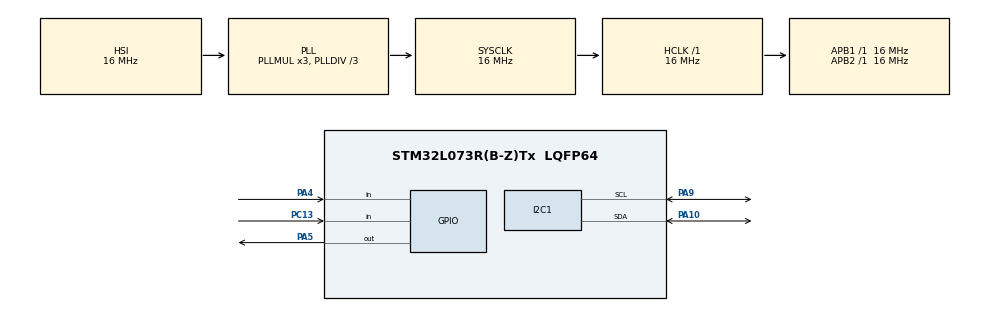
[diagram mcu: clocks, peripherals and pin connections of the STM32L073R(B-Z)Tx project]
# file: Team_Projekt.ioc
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I2C1.Timing=0x00303D5B
Mcu.Family=STM32L0
Mcu.Name=STM32L073R(B-Z)Tx
Mcu.Package=LQFP64
NVIC.RTC_IRQn=true\:0\:0\:false\:false\:true\:true\:true\:true
PA10.Mode=I2C
PA10.Signal=I2C1_SDA
PA13.Mode=Serial_Wire
PA13.Signal=SYS_SWDIO
PA14.Mode=Serial_Wire
PA14.Signal=SYS_SWCLK
PA4.GPIO_PuPd=GPIO_PULLUP
PA4.Signal=GPIO_Input
PA5.Signal=GPIO_Output
PA9.Mode=I2C
PA9.Signal=I2C1_SCL
PC13.Signal=GPIO_Input
PH0-OSC_IN.Mode=HSE-External-Oscillator
PH0-OSC_IN.Signal=RCC_OSC_IN
PH1-OSC_OUT.Mode=HSE-External-Oscillator
PH1-OSC_OUT.Signal=RCC_OSC_OUT
ProjectManager.HeapSize=0x200
ProjectManager.StackSize=0x400
ProjectManager.TargetToolchain=STM32CubeIDE
RCC.AHBFreq_Value=16000000
RCC.APB1Freq_Value=16000000
RCC.APB1TimFreq_Value=16000000
RCC.APB2Freq_Value=16000000
RCC.APB2TimFreq_Value=16000000
RCC.HCLKFreq_Value=16000000
RCC.HSE_VALUE=8000000
RCC.HSI16_VALUE=16000000
RCC.HSI48_VALUE=48000000
RCC.HSI_VALUE=16000000
RCC.LSE_VALUE=32768
RCC.MSI_VALUE=2097000
RCC.PLLDIV=RCC_PLLDIV_3
RCC.SYSCLKFreq_VALUE=16000000
RCC.SYSCLKSource=RCC_SYSCLKSOURCE_PLLCLK
RCC.VCOOutputFreq_Value=48000000
VP_RTC_VS_RTC_Activate.Mode=RTC_Enabled
VP_RTC_VS_RTC_WakeUp_intern.Mode=WakeUp
board=NUCLEO-L073RZ

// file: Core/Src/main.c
/* USER CODE BEGIN Header */
/**
  ******************************************************************************
  * @file           : main.c
  * @brief          : Main program body
  ******************************************************************************
  * @attention
  *
  * Copyright (c) 2023 STMicroelectronics.
  * All rights reserved.
  *
  * This software is licensed under terms that can be found in the LICENSE file
  * in the root directory of this software component.
  * If no LICENSE file comes with this software, it is provided AS-IS.
  *
  ******************************************************************************
  */
/* USER CODE END Header */
#include "main.h"

/* USER CODE BEGIN PD */
#define PCF8523_Address 0x68//0xD0 // I2C Adresse oder 0x68 ?
#define Control_1 0x00
#define Control_2 0x01
#define Control_3 0x02
#define Tmr_CLKOUT_ctrl 0x0F

#define Tmr_A_freq_ctrl 0x10
#define Tmr_A_reg 0x11

#define PCF8523_TIMER_B_FRCTL 0x12
#define PCF8523_TIMER_B_VALUE 0x13
#define PCF8523_OFFSET 0x0E
#define PCF8523_STATUSREG 0x03

#define RV3028C7_Address 0x52
#define RV_Timer_Val_0 0x0A
#define RV_Timer_Val_1 0x0B
#define RV_Status 0x0E
#define RV_Control_1 0x0F
#define RV_Control_2 0x10
#define RV_EEPROM_Backup 0x37
/* USER CODE END PD */

I2C_HandleTypeDef hi2c1;

RTC_HandleTypeDef hrtc;

/* USER CODE BEGIN PV */
uint8_t buffer[6];
uint8_t zwei = 0x02;
uint8_t dreißig = 0x05;
/* USER CODE END PV */

void SystemClock_Config(void);
static void MX_GPIO_Init(void);
static void MX_RTC_Init(void);
static void MX_I2C1_Init(void);

/* USER CODE BEGIN 0 */

void RV3028C7_Backup()
{
	uint8_t BSM;
	HAL_I2C_Mem_Read(&hi2c1, RV3028C7_Address << 1, RV_EEPROM_Backup, 1, &BSM, 1, 1000); // lesen von register
	BSM |= (1 << 2); // setzen von interrupt enable bit
	HAL_I2C_Mem_Write(&hi2c1, RV3028C7_Address << 1, RV_EEPROM_Backup, 1,  &BSM, 1, 1000);
}

void RV3028C7_Reset()
{
	uint8_t TE;
	HAL_I2C_Mem_Read(&hi2c1, RV3028C7_Address << 1, RV_Control_1, 1, &TE, 1, 1000); // lesen von register
	TE &= ~(1 << 2); // setzen von interrupt enable bit
	HAL_I2C_Mem_Write(&hi2c1, RV3028C7_Address << 1, RV_Control_1, 1,  &TE, 1, 1000);

	uint8_t TIE;
	HAL_I2C_Mem_Read(&hi2c1, RV3028C7_Address << 1, RV_Control_2, 1, &TIE, 1, 1000); // lesen von register
	TIE &= ~(1 << 4); // setzen von interrupt enable bit
	HAL_I2C_Mem_Write(&hi2c1, RV3028C7_Address << 1, RV_Control_2, 1,  &TIE, 1, 1000);

	uint8_t TF;
	HAL_I2C_Mem_Read(&hi2c1, RV3028C7_Address << 1, RV_Status, 1, &TF, 1, 1000); // lesen von register
	TF &= ~(1 << 3); // setzen von interrupt enable bit
	HAL_I2C_Mem_Write(&hi2c1, RV3028C7_Address << 1, RV_Status, 1,  &TF, 1, 1000);
}

void RV3028C7_Init(uint8_t timer_val)
{
	uint8_t TRPT;
	HAL_I2C_Mem_Read(&hi2c1, RV3028C7_Address << 1, RV_Control_1, 1, &TRPT, 1, 1000); // lesen von register
	TRPT |= (1 << 7); // setzen von interrupt enable bit
	HAL_I2C_Mem_Write(&hi2c1, RV3028C7_Address << 1, RV_Control_1, 1,  &TRPT, 1, 1000);

	uint8_t TD;
	HAL_I2C_Mem_Read(&hi2c1, RV3028C7_Address << 1, RV_Control_1, 1, &TD, 1, 1000); // lesen von register
	TD |= 0x02; // setzen von interrupt enable bit
	HAL_I2C_Mem_Write(&hi2c1, RV3028C7_Address << 1, RV_Control_1, 1,  &TD, 1, 1000);

	HAL_I2C_Mem_Write(&hi2c1, RV3028C7_Address << 1, RV_Timer_Val_0, 1,  &timer_val, 1, 1000);

	uint8_t TIE;
	HAL_I2C_Mem_Read(&hi2c1, RV3028C7_Address << 1, RV_Control_2, 1, &TIE, 1, 1000); // lesen von register
	TIE |= (1 << 4); // setzen von interrupt enable bit
	HAL_I2C_Mem_Write(&hi2c1, RV3028C7_Address << 1, RV_Control_2, 1,  &TIE, 1, 1000);

	uint8_t TE;
	HAL_I2C_Mem_Read(&hi2c1, RV3028C7_Address << 1, RV_Control_1, 1, &TE, 1, 1000); // lesen von register
	TE |= (1 << 2); // setzen von interrupt enable bit
	HAL_I2C_Mem_Write(&hi2c1, RV3028C7_Address << 1, RV_Control_1, 1,  &TE, 1, 1000);
}

void Enable_interrupt()
{
	uint8_t EnIn;

	HAL_I2C_Mem_Read(&hi2c1, PCF8523_Address << 1, Control_2, 1, &EnIn, 1, 1000); // lesen von register

	EnIn |= 0x02; // setzen von interrupt enable bit

	HAL_I2C_Mem_Write(&hi2c1, PCF8523_Address << 1, Control_2, 1,  &EnIn, 1, 1000); // schreiben des registers mit gesetztem bit
}

void TimerA_Init(uint8_t val)
{
	uint8_t reset = 0x00;
	HAL_I2C_Mem_Write(&hi2c1, PCF8523_Address << 1, Tmr_CLKOUT_ctrl, 1,  &reset, 1, 1000); //reset

	uint8_t control;
	HAL_I2C_Mem_Read(&hi2c1, PCF8523_Address << 1, Tmr_CLKOUT_ctrl, 1, &control, 1, 1000); // lesen von clock out register
	control |= 0xBA; // clkout deaktiviert, pulsed interrupt für timerA, timerA als countdown timer
	HAL_I2C_Mem_Write(&hi2c1, PCF8523_Address << 1, Tmr_CLKOUT_ctrl, 1,  &control, 1, 1000);

	uint8_t freq = 0x02; // Frequenz 1 Hz
	HAL_I2C_Mem_Write(&hi2c1, PCF8523_Address << 1, Tmr_A_freq_ctrl, 1, &freq, 1, 1000); // schreiben von frequenz register

	uint8_t value = val; // Wert fürs herunterzählen setzen
	HAL_I2C_Mem_Write(&hi2c1, PCF8523_Address << 1, Tmr_A_reg, 1, &value, 1, 1000);

}

void Bat_Mode()
{
	uint8_t battery;

	HAL_I2C_Mem_Read(&hi2c1, PCF8523_Address << 1, Control_3, 1,  &battery, 1, 1000); //control 3 register lesen

	uint8_t mask = ~(0xE0);
	battery &= mask;

	HAL_I2C_Mem_Write(&hi2c1, PCF8523_Address << 1, Control_3, 1, &battery, 1, 1000); // batterie mode aktiviert
}

void Go_To_Standby()
{
	  if(__HAL_PWR_GET_FLAG(PWR_FLAG_SB) != RESET)
	  {
		  __HAL_PWR_CLEAR_FLAG(PWR_FLAG_SB);

		  for (int i = 0; i < 20; i++)
		  {
			  HAL_GPIO_TogglePin(GPIOA, GPIO_PIN_5);
			  HAL_Delay(200);
		  }

		  HAL_RTCEx_DeactivateWakeUpTimer(&hrtc);

	  }

	  __HAL_PWR_CLEAR_FLAG(PWR_FLAG_WU);

	  __HAL_RTC_WAKEUPTIMER_CLEAR_FLAG(&hrtc, RTC_FLAG_WUTF);

	  for (int i = 0; i < 5; i++)
	  {
		  HAL_GPIO_TogglePin(GPIOA, GPIO_PIN_5);
		  HAL_Delay(750);
	  }

	  HAL_GPIO_WritePin(GPIOA, GPIO_PIN_5, GPIO_PIN_SET);
	 		  HAL_Delay(2000);

	  /*            5 sekunden wakeup enable                 */
	  if (HAL_RTCEx_SetWakeUpTimer_IT(&hrtc, 0x4000, RTC_WAKEUPCLOCK_RTCCLK_DIV16) != HAL_OK)
	  {
	    Error_Handler();
	  }

	  HAL_PWR_EnterSTANDBYMode();
}

void Clock_Devider()
{

	//RCC_ClkInitTypeDef clk_init;
	//RCC_OscInitTypeDef osc_init;
	RCC_ClkInitTypeDef RCC_ClkInitStruct = {0};
	RCC_OscInitTypeDef RCC_OscInitStruct = {0};

	  /***************************************32 MHz*****************************************************************/
	  RCC_OscInitStruct.PLL.PLLMUL = RCC_PLLMUL_4;
	  RCC_OscInitStruct.PLL.PLLDIV = RCC_PLLDIV_2;
	  RCC_ClkInitStruct.AHBCLKDivider = RCC_SYSCLK_DIV1;
	  HAL_Delay(1000);

	  /****************************************24 MHz****************************************************************/
	  RCC_OscInitStruct.PLL.PLLMUL = RCC_PLLMUL_3;
	  RCC_OscInitStruct.PLL.PLLDIV = RCC_PLLDIV_2;
	  RCC_ClkInitStruct.AHBCLKDivider = RCC_SYSCLK_DIV1;
	  HAL_Delay(1000);

	  /****************************************16 MHz*****************************************************************/
	  RCC_OscInitStruct.PLL.PLLMUL = RCC_PLLMUL_3;
	  RCC_OscInitStruct.PLL.PLLDIV = RCC_PLLDIV_3;
	  RCC_ClkInitStruct.AHBCLKDivider = RCC_SYSCLK_DIV1;
	  HAL_Delay(1000);

	  /*****************************************8 MHz***************************************************************/
	  RCC_OscInitStruct.PLL.PLLMUL = RCC_PLLMUL_3;
	  RCC_OscInitStruct.PLL.PLLDIV = RCC_PLLDIV_3;
	  RCC_ClkInitStruct.AHBCLKDivider = RCC_SYSCLK_DIV2;
	  HAL_Delay(1000);

	  /****************************************4 MHz*****************************************************************/
	  RCC_OscInitStruct.PLL.PLLMUL = RCC_PLLMUL_3;
	  RCC_OscInitStruct.PLL.PLLDIV = RCC_PLLDIV_3;
	  RCC_ClkInitStruct.AHBCLKDivider = RCC_SYSCLK_DIV4;
	  HAL_Delay(1000);

	  /***************************************2 MHz******************************************************************/
	  RCC_OscInitStruct.PLL.PLLMUL = RCC_PLLMUL_3;
	  RCC_OscInitStruct.PLL.PLLDIV = RCC_PLLDIV_3;
	  RCC_ClkInitStruct.AHBCLKDivider = RCC_SYSCLK_DIV8;
	  HAL_Delay(1000);

	  /**************************************1 MHz*******************************************************************/
	  RCC_OscInitStruct.PLL.PLLMUL = RCC_PLLMUL_3;
	  RCC_OscInitStruct.PLL.PLLDIV = RCC_PLLDIV_3;
	  RCC_ClkInitStruct.AHBCLKDivider = RCC_SYSCLK_DIV16;
	  HAL_Delay(1000);

	  /**************************************250 KHz*******************************************************************/
	  RCC_OscInitStruct.PLL.PLLMUL = RCC_PLLMUL_3;
	  RCC_OscInitStruct.PLL.PLLDIV = RCC_PLLDIV_3;
	  RCC_ClkInitStruct.AHBCLKDivider = RCC_SYSCLK_DIV64;
	  HAL_Delay(1000);

	  /**************************************125 KHz*******************************************************************/
	  RCC_OscInitStruct.PLL.PLLMUL = RCC_PLLMUL_3;
	  RCC_OscInitStruct.PLL.PLLDIV = RCC_PLLDIV_3;
	  RCC_ClkInitStruct.AHBCLKDivider = RCC_SYSCLK_DIV128;
	  HAL_Delay(1000);

	  /**************************************62,5 KHz*******************************************************************/
	  RCC_OscInitStruct.PLL.PLLMUL = RCC_PLLMUL_3;
	  RCC_OscInitStruct.PLL.PLLDIV = RCC_PLLDIV_3;
	  RCC_ClkInitStruct.AHBCLKDivider = RCC_SYSCLK_DIV256;
	  HAL_Delay(1000);

	  /*************************************31,25 KHz********************************************************************/
	  RCC_OscInitStruct.PLL.PLLMUL = RCC_PLLMUL_3;
	  RCC_OscInitStruct.PLL.PLLDIV = RCC_PLLDIV_3;
	  RCC_ClkInitStruct.AHBCLKDivider = RCC_SYSCLK_DIV512;
	  HAL_Delay(1000);
}

/* USER CODE END 0 */

int main(void)
{

  /* MCU Configuration--------------------------------------------------------*/

  /* Reset of all peripherals, Initializes the Flash interface and the Systick. */
  HAL_Init();

  /* Configure the system clock */
  SystemClock_Config();

  /* Initialize all configured peripherals */
  MX_GPIO_Init();
  MX_RTC_Init();
  MX_I2C1_Init();
  /* USER CODE BEGIN 2 */

  /*******************************************************************Standby***************************************************************************************/

    //Go_To_Standby();

    /*******************************************************************Clock***************************************************************************************/

    //Clock_Devider();

    /*******************************************************************RTC***************************************************************************************/

    if(HAL_I2C_IsDeviceReady(&hi2c1, PCF8523_Address << 1, 2, 100) == HAL_OK)
    {
  	  HAL_GPIO_WritePin(GPIOA, GPIO_PIN_5, GPIO_PIN_SET);
  	  HAL_Delay(1000);
  	  HAL_GPIO_WritePin(GPIOA, GPIO_PIN_5, GPIO_PIN_RESET);
  	  HAL_Delay(1000);
    }

    //Enable_interrupt();
    //TimerA_Init(0x04);
    //Bat_Mode();

    uint8_t periode = 10;
    RV3028C7_Reset();
    RV3028C7_Init(periode);
    RV3028C7_Backup();

    /**********************************************************************************************************************************************************/

    //I2C_Init();
    //Battery_Mode();
    //Set_Time(0);
    uint8_t interrupt;
    //buffer[0] = 0x02;

  /* USER CODE END 2 */

  /* Infinite loop */
  while (1)
  {

    /* USER CODE BEGIN 3 */

	  //interrupt = HAL_GPIO_ReadPin(GPIOC, GPIO_PIN_13);

	 /* if (HAL_GPIO_ReadPin(GPIOC, GPIO_PIN_13) == GPIO_PIN_RESET)
	  {
		//HAL_GPIO_WritePin(GPIOA, GPIO_PIN_5, GPIO_PIN_SET);
		  System_Clock1();
		  System_Clock2();
		  System_Clock3();
		  System_Clock4();
		  System_Clock5();
		  System_Clock6();
		  System_Clock7();
		  System_Clock8();
		//HAL_GPIO_WritePin(GPIOA, GPIO_PIN_5, GPIO_PIN_RESET);

		  HAL_GPIO_WritePin(GPIOA, GPIO_PIN_5, GPIO_PIN_SET);
		  HAL_Delay(1000);
		  HAL_GPIO_WritePin(GPIOA, GPIO_PIN_5, GPIO_PIN_RESET);
		  HAL_Delay(1000);
	  }*/

	  interrupt = HAL_GPIO_ReadPin(GPIOA, GPIO_PIN_4);

	 	  if (interrupt == 0)
	 	  {
	 		 /* uint8_t flag;
	 		 // HAL_I2C_Mem_Read(&hi2c1, PCF8523_Address << 1, Control_2, 1,  &flag, 1, 1000);
	 		  uint8_t mask = ~(0x40);
	 		  flag &= mask;
	 		  //HAL_I2C_Mem_Write(&hi2c1, PCF8523_Address << 1, Control_2, 1, &flag, 1, 1000); //clear flag

	 		   */

	 		  HAL_GPIO_WritePin(GPIOA, GPIO_PIN_5, GPIO_PIN_SET);
	 		  HAL_Delay(1000);
	 		  HAL_GPIO_WritePin(GPIOA, GPIO_PIN_5, GPIO_PIN_RESET);
	 		  HAL_Delay(1000);

	 	  }

  }
  /* USER CODE END 3 */
}

void SystemClock_Config(void)
{
  RCC_OscInitTypeDef RCC_OscInitStruct = {0};
  RCC_ClkInitTypeDef RCC_ClkInitStruct = {0};
  RCC_PeriphCLKInitTypeDef PeriphClkInit = {0};

  /** Configure the main internal regulator output voltage
  */
  __HAL_PWR_VOLTAGESCALING_CONFIG(PWR_REGULATOR_VOLTAGE_SCALE1);

  /** Initializes the RCC Oscillators according to the specified parameters
  * in the RCC_OscInitTypeDef structure.
  */
  RCC_OscInitStruct.OscillatorType = RCC_OSCILLATORTYPE_HSI|RCC_OSCILLATORTYPE_LSI;
  RCC_OscInitStruct.HSIState = RCC_HSI_ON;
  RCC_OscInitStruct.HSICalibrationValue = RCC_HSICALIBRATION_DEFAULT;
  RCC_OscInitStruct.LSIState = RCC_LSI_ON;
  RCC_OscInitStruct.PLL.PLLState = RCC_PLL_ON;
  RCC_OscInitStruct.PLL.PLLSource = RCC_PLLSOURCE_HSI;
  RCC_OscInitStruct.PLL.PLLMUL = RCC_PLLMUL_3;
  RCC_OscInitStruct.PLL.PLLDIV = RCC_PLLDIV_3;
  if (HAL_RCC_OscConfig(&RCC_OscInitStruct) != HAL_OK)
  {
    Error_Handler();
  }

  /** Initializes the CPU, AHB and APB buses clocks
  */
  RCC_ClkInitStruct.ClockType = RCC_CLOCKTYPE_HCLK|RCC_CLOCKTYPE_SYSCLK
                              |RCC_CLOCKTYPE_PCLK1|RCC_CLOCKTYPE_PCLK2;
  RCC_ClkInitStruct.SYSCLKSource = RCC_SYSCLKSOURCE_PLLCLK;
  RCC_ClkInitStruct.AHBCLKDivider = RCC_SYSCLK_DIV1;
  RCC_ClkInitStruct.APB1CLKDivider = RCC_HCLK_DIV1;
  RCC_ClkInitStruct.APB2CLKDivider = RCC_HCLK_DIV1;

  if (HAL_RCC_ClockConfig(&RCC_ClkInitStruct, FLASH_LATENCY_0) != HAL_OK)
  {
    Error_Handler();
  }
  PeriphClkInit.PeriphClockSelection = RCC_PERIPHCLK_I2C1|RCC_PERIPHCLK_RTC;
  PeriphClkInit.I2c1ClockSelection = RCC_I2C1CLKSOURCE_PCLK1;
  PeriphClkInit.RTCClockSelection = RCC_RTCCLKSOURCE_LSI;
  if (HAL_RCCEx_PeriphCLKConfig(&PeriphClkInit) != HAL_OK)
  {
    Error_Handler();
  }
}

static void MX_I2C1_Init(void)
{

  hi2c1.Instance = I2C1;
  hi2c1.Init.Timing = 0x00303D5B;
  hi2c1.Init.OwnAddress1 = 0;
  hi2c1.Init.AddressingMode = I2C_ADDRESSINGMODE_7BIT;
  hi2c1.Init.DualAddressMode = I2C_DUALADDRESS_DISABLE;
  hi2c1.Init.OwnAddress2 = 0;
  hi2c1.Init.OwnAddress2Masks = I2C_OA2_NOMASK;
  hi2c1.Init.GeneralCallMode = I2C_GENERALCALL_DISABLE;
  hi2c1.Init.NoStretchMode = I2C_NOSTRETCH_DISABLE;
  if (HAL_I2C_Init(&hi2c1) != HAL_OK)
  {
    Error_Handler();
  }

  /** Configure Analogue filter
  */
  if (HAL_I2CEx_ConfigAnalogFilter(&hi2c1, I2C_ANALOGFILTER_ENABLE) != HAL_OK)
  {
    Error_Handler();
  }

  /** Configure Digital filter
  */
  if (HAL_I2CEx_ConfigDigitalFilter(&hi2c1, 0) != HAL_OK)
  {
    Error_Handler();
  }

}

static void MX_RTC_Init(void)
{

  /** Initialize RTC Only
  */
  hrtc.Instance = RTC;
  hrtc.Init.HourFormat = RTC_HOURFORMAT_24;
  hrtc.Init.AsynchPrediv = 127;
  hrtc.Init.SynchPrediv = 255;
  hrtc.Init.OutPut = RTC_OUTPUT_DISABLE;
  hrtc.Init.OutPutRemap = RTC_OUTPUT_REMAP_NONE;
  hrtc.Init.OutPutPolarity = RTC_OUTPUT_POLARITY_HIGH;
  hrtc.Init.OutPutType = RTC_OUTPUT_TYPE_OPENDRAIN;
  if (HAL_RTC_Init(&hrtc) != HAL_OK)
  {
    Error_Handler();
  }

  /** Enable the WakeUp
  */
  if (HAL_RTCEx_SetWakeUpTimer_IT(&hrtc, 0, RTC_WAKEUPCLOCK_RTCCLK_DIV16) != HAL_OK)
  {
    Error_Handler();
  }

}

static void MX_GPIO_Init(void)
{
  GPIO_InitTypeDef GPIO_InitStruct = {0};

  /* GPIO Ports Clock Enable */
  __HAL_RCC_GPIOC_CLK_ENABLE();
  __HAL_RCC_GPIOH_CLK_ENABLE();
  __HAL_RCC_GPIOA_CLK_ENABLE();

  /*Configure GPIO pin Output Level */
  HAL_GPIO_WritePin(GPIOA, GPIO_PIN_5, GPIO_PIN_RESET);

  /*Configure GPIO pin : PC13 */
  GPIO_InitStruct.Pin = GPIO_PIN_13;
  GPIO_InitStruct.Mode = GPIO_MODE_INPUT;
  GPIO_InitStruct.Pull = GPIO_NOPULL;
  HAL_GPIO_Init(GPIOC, &GPIO_InitStruct);

  /*Configure GPIO pin : PA4 */
  GPIO_InitStruct.Pin = GPIO_PIN_4;
  GPIO_InitStruct.Mode = GPIO_MODE_INPUT;
  GPIO_InitStruct.Pull = GPIO_PULLUP;
  HAL_GPIO_Init(GPIOA, &GPIO_InitStruct);

  /*Configure GPIO pin : PA5 */
  GPIO_InitStruct.Pin = GPIO_PIN_5;
  GPIO_InitStruct.Mode = GPIO_MODE_OUTPUT_PP;
  GPIO_InitStruct.Pull = GPIO_NOPULL;
  GPIO_InitStruct.Speed = GPIO_SPEED_FREQ_LOW;
  HAL_GPIO_Init(GPIOA, &GPIO_InitStruct);

}

void Error_Handler(void)
{
  __disable_irq();
  while (1)
  {
  }
}
